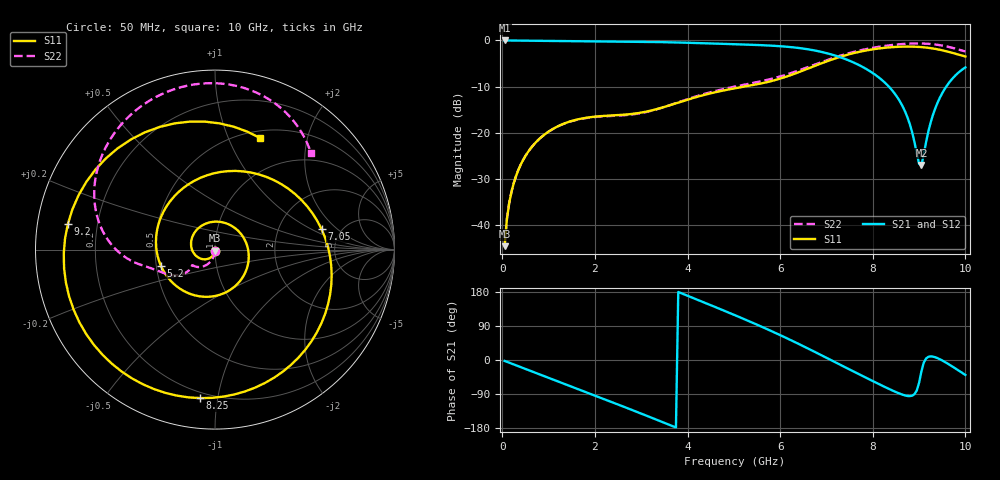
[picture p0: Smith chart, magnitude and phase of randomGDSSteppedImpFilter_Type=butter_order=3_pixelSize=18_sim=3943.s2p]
! freq	dB(S11)	phase(S11)	dB(S12)	phase(S12)
!  dB(S21)	phase(S21)	dB(S22)	phase(S22)
!S-par simulation data
#  GHz  S  DB  R 50
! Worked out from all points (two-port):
!   200 points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, 50 MHz to 10 GHz, reference 50 ohm
!   highest |S21| = 0.00 dB at 50 MHz (marker M1); lowest = -26.9 dB at 9.05 GHz (marker M2)
!   |S21| within 3 dB of the highest: start of sweep to 7.097 GHz
!   lowest |S11| = -44.5 dB at 50 MHz (marker M3), VSWR 1.01, Z = 50 - j0.596 ohm
!   |S11| at or under -10 dB: start of sweep to 5.224 GHz
!   |S22| runs from -44.5 to -0.6 dB; largest |S21 - S12| = 0
!   S11 on the Smith chart (normalised r, x): 50 MHz: 1.00, -0.01; 5.2 GHz: 0.53, -0.10; 7.05 GHz: 3.57, +1.27; 8.25 GHz: 0.17, -0.89; 9.2 GHz: 0.09, +0.09; 10 GHz: 0.58, +1.31
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0.05  -44.50 -91.5  -0.00 -2.4  -0.00 -2.4  -44.47 -89.9
0.2  -32.67 -102.5  -0.02 -9.5  -0.02 -9.5  -32.65 -96.1
0.5  -24.98 -122.2  -0.04 -23.6  -0.04 -23.6  -24.96 -106.1
1.15  -18.82 -164.9  -0.12 -54.1  -0.12 -54.1  -18.84 -125.1
1.75  -16.82 152.3  -0.18 -82.1  -0.18 -82.1  -16.88 -138.4
2.55  -16.12 84.4  -0.25 -119.8  -0.25 -119.8  -16.23 -145.4
3.4  -14.67 -0.3  -0.36 -160.9  -0.36 -160.9  -14.70 -141.6
4.2  -12.22 -74.9  -0.56 159.7  -0.56 159.7  -12.05 -145.3
5.05  -10.31 -149.7  -0.83 116.9  -0.83 116.9  -9.92 -156.3
5.2  -10.04 -163.5  -0.87 109.1  -0.87 109.1  -9.62 -158.3
5.9  -8.55 127.4  -1.18 71.3  -1.18 71.3  -8.07 -166.0
6.35  -7.06 80.5  -1.57 45.4  -1.57 45.4  -6.66 -171.9
6.7  -5.70 44.8  -2.08 24.3  -2.08 24.3  -5.38 -178.7
7.05  -4.37 10.8  -2.87 2.8  -2.87 2.8  -4.11 172.0
7.6  -2.71 -39.2  -4.84 -31.2  -4.84 -31.2  -2.46 153.1
8.25  -1.60 -95.6  -9.02 -70.5  -9.02 -70.5  -1.19 126.8
8.35  -1.51 -104.5  -10.02 -76.3  -10.02 -76.3  -1.06 122.4
8.7  -1.33 -136.9  -15.43 -93.6  -15.43 -93.6  -0.73 106.6
9.05  -1.44 -172.9  -26.93 -30.3  -26.93 -30.3  -0.66 89.9
9.2  -1.60 170.2  -19.69 8.4  -19.69 8.4  -0.73 82.4
9.6  -2.37 120.7  -9.79 -8.2  -9.79 -8.2  -1.31 62.6
10  -3.47 68.1  -5.84 -39.4  -5.84 -39.4  -2.39 45.3
